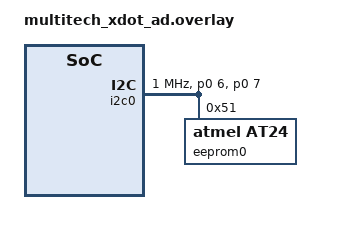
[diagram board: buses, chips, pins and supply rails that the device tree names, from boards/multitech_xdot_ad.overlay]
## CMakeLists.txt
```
# SPDX-License-Identifier: Apache-2.0

cmake_minimum_required(VERSION 3.20.0)

find_package(Zephyr REQUIRED HINTS $ENV{ZEPHYR_BASE})
project(lorawan-shell)

include_directories(include)

FILE(GLOB app_sources src/*.c)
target_sources(app PRIVATE ${app_sources})
```

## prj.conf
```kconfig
CONFIG_LOG=y
CONFIG_SPI=y
CONFIG_GPIO=y
CONFIG_LORA=y
CONFIG_LORAWAN=y

CONFIG_LORAMAC_REGION_AU915=n
CONFIG_LORAMAC_REGION_US915=n
CONFIG_LORAMAC_REGION_EU868=n
CONFIG_LORAMAC_REGION_KR920=n
CONFIG_LORAMAC_REGION_AS923=n
CONFIG_LORAMAC_REGION_IN865=n
CONFIG_MAIN_STACK_SIZE=2048
CONFIG_SYSTEM_WORKQUEUE_STACK_SIZE=2048
# CONFIG_LOG_BUFFER_SIZE=4096


# CONFIG_LOG_DEFAULT_LEVEL=4
CONFIG_LORA_LOG_LEVEL_DBG=n
CONFIG_LORAWAN_LOG_LEVEL_DBG=y


CONFIG_LORAWAN_NVM_NONE=n


CONFIG_LOG=y
# CONFIG_SPI_LOG_LEVEL_DBG=y
# CONFIG_FLASH_LOG_LEVEL_DBG=n
CONFIG_LOG_MODE_IMMEDIATE=y

CONFIG_SHELL=y

# CONFIG_SHELL_MINIMAL=y
CONFIG_SHELL_CMD_BUFF_SIZE=768
CONFIG_SHELL_BACKEND_SERIAL_TX_RING_BUFFER_SIZE=768
CONFIG_SHELL_BACKEND_SERIAL_RX_RING_BUFFER_SIZE=768
```

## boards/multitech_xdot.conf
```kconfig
CONFIG_EEPROM=y
```

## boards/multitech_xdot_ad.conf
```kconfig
CONFIG_LORAWAN_SYSTEM_MAX_RX_ERROR=30
CONFIG_LORAWAN_SYSTEM_MIN_RX_SYMBOLS=10

CONFIG_PM_DEVICE=y

CONFIG_EEPROM=y
```

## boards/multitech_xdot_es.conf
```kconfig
CONFIG_LORAWAN_SYSTEM_MAX_RX_ERROR=30
CONFIG_LORAWAN_SYSTEM_MIN_RX_SYMBOLS=10

CONFIG_FLASH=y
CONFIG_SPI=y
CONFIG_SPI_NOR=y
```

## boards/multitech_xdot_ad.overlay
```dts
/ {
    /* These aliases are provided for compatibility with samples */
	aliases {
		eeprom-0 = &eeprom0;
	};
};


&i2c0 {
	status = "okay";
	pinctrl-0 = <&i2c0_scl_p0_6 &i2c0_sda_p0_7>;
	pinctrl-names = "default";
	clock-frequency = <I2C_BITRATE_FAST_PLUS>;

	eeprom0: eeprom@51 {
		compatible = "atmel,at24";
		reg = <0x51>;
		status = "okay";
		size = <DT_SIZE_K(16)>;
		pagesize = <64>;
		address-width = <16>;
		timeout = <5>;
		zephyr,deferred-init;
	};
	zephyr,deferred-init;
};
```

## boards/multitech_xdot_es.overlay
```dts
/ {
	chosen {
		zephyr,flash-controller = &w25q80dv0;
	};

	/* These aliases are provided for compatibility with samples */
	aliases {
		flash1 = &w25q80dv0;
	};
};

&spi0 {
	status = "okay";
	pinctrl-0 = <&spi0_sck_p0_4 &spi0_miso_p0_2 &spi0_mosi_p0_3>;
	pinctrl-names = "default";
		
	cs-gpios = <&gpio0 5 GPIO_ACTIVE_LOW>;

	w25q80dv0: w25q80dv@0 {
		compatible = "jedec,spi-nor";
		reg = <0>;
		has-dpd;
		t-enter-dpd = <30000>;
		t-exit-dpd = <30000>;

		size = <0x800000>;

		spi-max-frequency = <50000000>;

		jedec-id = [ef 40 14];
		status = "okay";
	};
};
```

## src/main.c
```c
/*
 * Class A LoRaWAN sample application
 *
 * Copyright (c) 2020 Manivannan Sadhasivam <mani@kernel.org>
 *
 * SPDX-License-Identifier: Apache-2.0
 */

#include <zephyr/device.h>
#include <zephyr/lorawan/lorawan.h>
#include <zephyr/kernel.h>
#include <zephyr/sys/reboot.h>
#include <zephyr/drivers/rtc.h>
#include <zephyr/drivers/flash.h>
#include <zephyr/logging/log_ctrl.h>
#include <zephyr/sys/time_units.h>
#include <zephyr/drivers/gpio.h>

#include <zephyr/pm/device.h>
#include <zephyr/pm/device_runtime.h>
#include <zephyr/drivers/eeprom.h>

#include <zephyr/shell/shell.h>
#include <zephyr/sys/util.h>

#include "config.h"
#include "lorawan_app.h"


#define DELAY K_MSEC(1000)

#include <zephyr/logging/log.h>
LOG_MODULE_REGISTER(lorawan_shell_main);



int main(void)
{
	init_config();
	lorawan_init();

	return 0;
}
```

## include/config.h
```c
#ifndef MULTITECH_LORAWAN_CONFIG_H_
#define MULTITECH_LORAWAN_CONFIG_H_

struct perisistent_config {
	uint32_t magic;
	uint8_t deveui[8];
	uint8_t joineui[8];
	uint8_t appkey[16];
	uint16_t devnonce;
};

int init_config();
int save_config();


#endif
```

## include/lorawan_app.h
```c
/*
 * Class A LoRaWAN sample application
 *
 * Copyright (c) 2020 Manivannan Sadhasivam <mani@kernel.org>
 *
 * SPDX-License-Identifier: Apache-2.0
 */

#ifndef MULTITECH_LORAWAN_APP_H_
#define MULTITECH_LORAWAN_APP_H_

#include <zephyr/device.h>
#include <zephyr/lorawan/lorawan.h>
#include <zephyr/kernel.h>
#include <zephyr/sys/reboot.h>
#include <zephyr/drivers/rtc.h>
#include <zephyr/drivers/flash.h>
#include <zephyr/logging/log_ctrl.h>
#include <zephyr/sys/time_units.h>
#include <zephyr/drivers/gpio.h>

#include <zephyr/pm/device.h>
#include <zephyr/pm/device_runtime.h>
#include <zephyr/drivers/eeprom.h>

#include <zephyr/shell/shell.h>
#include <zephyr/sys/util.h>



#define DELAY K_MSEC(1000)


#define AT_APPLICATION_VERSION "0.0.0"
#define LW_VERSION "1.0.4"
#define RP_VERSION "1.0.3"


int lorawan_init(void);
void lorawan_join_network(struct lorawan_join_config *join_cfg);
void lorwan_datarate_changed(enum lorawan_datarate dr);


#endif
```

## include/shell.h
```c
/*
 * Class A LoRaWAN sample application
 *
 * Copyright (c) 2020 Manivannan Sadhasivam <mani@kernel.org>
 *
 * SPDX-License-Identifier: Apache-2.0
 */

#ifndef MULTITECH_LORAWAN_SHELL_H_
#define MULTITECH_LORAWAN_SHELL_H_



#include <zephyr/device.h>
#include <zephyr/lorawan/lorawan.h>
#include <zephyr/kernel.h>
#include <zephyr/sys/reboot.h>
#include <zephyr/drivers/rtc.h>
#include <zephyr/drivers/flash.h>
#include <zephyr/logging/log_ctrl.h>
#include <zephyr/sys/time_units.h>
#include <zephyr/drivers/gpio.h>

#include <zephyr/pm/device.h>
#include <zephyr/pm/device_runtime.h>
#include <zephyr/drivers/eeprom.h>

#include <zephyr/shell/shell.h>
#include <zephyr/sys/util.h>




uint8_t uplinkPort = 2;
uint8_t uplinkPacket[255] = { 0xFF };
uint8_t uplinkSize = 1;
enum lorawan_message_type uplinkType = LORAWAN_MSG_UNCONFIRMED;
bool network_joined = false;



  
static int cmd_deveui(const struct shell *sh, size_t argc, char **argv);
static int cmd_joineui(const struct shell *sh, size_t argc, char **argv);
static int cmd_appkey(const struct shell *sh, size_t argc, char **argv);
static int cmd_save(const struct shell *sh, size_t argc, char **argv);
static int cmd_send(const struct shell *sh, size_t argc, char **argv);
static int cmd_join(const struct shell *sh, size_t argc, char **argv);


#endif
```

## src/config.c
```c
/*
 * Class A LoRaWAN sample application
 *
 * Copyright (c) 2020 Manivannan Sadhasivam <mani@kernel.org>
 *
 * SPDX-License-Identifier: Apache-2.0
 */

#include <zephyr/device.h>
#include <zephyr/lorawan/lorawan.h>
#include <zephyr/kernel.h>
#include <zephyr/sys/reboot.h>
#include <zephyr/drivers/rtc.h>
#include <zephyr/drivers/flash.h>
#include <zephyr/logging/log_ctrl.h>
#include <zephyr/sys/time_units.h>
#include <zephyr/drivers/gpio.h>

#include <zephyr/pm/device.h>
#include <zephyr/pm/device_runtime.h>
#include <zephyr/drivers/eeprom.h>



#include "config.h"
#include "lorawan_app.h"



#include <zephyr/logging/log.h>
LOG_MODULE_REGISTER(lorawan_shell_config);





struct perisistent_config device_config;


#if defined(CONFIG_BOARD_MULTITECH_XDOT_AD)
static const struct device *i2c = DEVICE_DT_GET(DT_NODELABEL(i2c0));
const struct device *const mem_pwr_en = DEVICE_DT_GET(DT_NODELABEL(mem_pwr_en));
#endif


#if defined(CONFIG_BOARD_MULTITECH_XDOT_AD) || defined(CONFIG_BOARD_MULTITECH_XDOT)
static const struct device *nvm_dev = DEVICE_DT_GET(DT_ALIAS(eeprom_0));
#define USE_EEPROM 1
#else
static const struct device *nvm_dev = DEVICE_DT_GET(DT_ALIAS(flash1));
#define USE_EEPROM 0
#endif



#define LORAWAN_NVM_OFFSET 0
#define LORAWAN_NVM_MAGIC  0xEE9704
#define SPI_FLASH_SECTOR_SIZE        0x10000

static int nvm_write(off_t offset, const void *data, size_t len) {
	if (USE_EEPROM)
		return eeprom_write(nvm_dev, offset, data, len);
	else {
		LOG_INF("USE FLASH write");
		flash_erase(nvm_dev, offset, SPI_FLASH_SECTOR_SIZE);
		return flash_write(nvm_dev, offset, data, len);
	}
}

static int nvm_read(off_t offset, void *data, size_t len) {
	if (USE_EEPROM)
		return eeprom_read(nvm_dev, offset, data, len);
	else {
		LOG_INF("USE FLASH read");
		return flash_read(nvm_dev, offset, data, len);
	}
}

int init_config() {
    
#if defined(CONFIG_BOARD_MULTITECH_XDOT_AD)
	pm_device_runtime_get(mem_pwr_en);

	if (pm_device_is_powered(mem_pwr_en)) {
		printk("Internal EEPROM/FLASH is ON\n");
	} else {
		printk("Internal EEPROM/FLASH is OFF\n");
	}

	device_init(i2c);
	device_init(nvm_dev);
#endif

	if (!device_is_ready(nvm_dev)) {
		printk("\nError: Device \"%s\" is not ready; "
		       "check the driver initialization logs for errors.\n",
		       nvm_dev->name);
		return 1;
	}

	int rc = nvm_read(LORAWAN_NVM_OFFSET, &device_config, sizeof(device_config));
	if (rc < 0) {
		printk("Error: Couldn't read eeprom: err: %d.\n", rc);
		return 1;
	}

	if (device_config.magic != LORAWAN_NVM_MAGIC) {
		printk("NO MAGIC\n");
		device_config.magic = LORAWAN_NVM_MAGIC;
		memset(device_config.deveui, 0, 8);
		memset(device_config.joineui, 0, 8);
		memset(device_config.appkey, 0, 16);
		device_config.devnonce = 0;
	}

    return 0;
}

int save_config() {
	return nvm_write(LORAWAN_NVM_OFFSET, &device_config, sizeof(device_config));
}
```

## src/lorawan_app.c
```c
/*
 * Class A LoRaWAN sample application
 *
 * Copyright (c) 2020 Manivannan Sadhasivam <mani@kernel.org>
 *
 * SPDX-License-Identifier: Apache-2.0
 */

#include <zephyr/device.h>
#include <zephyr/lorawan/lorawan.h>
#include <zephyr/kernel.h>
#include <zephyr/sys/reboot.h>
#include <zephyr/drivers/rtc.h>
#include <zephyr/drivers/flash.h>
#include <zephyr/logging/log_ctrl.h>
#include <zephyr/sys/time_units.h>
#include <zephyr/drivers/gpio.h>

#include <zephyr/pm/device.h>
#include <zephyr/pm/device_runtime.h>
#include <zephyr/drivers/eeprom.h>

#include <zephyr/shell/shell.h>
#include <zephyr/sys/util.h>

#include "config.h"
#include "lorawan_app.h"


#define DELAY K_MSEC(1000)

#include <zephyr/logging/log.h>
LOG_MODULE_REGISTER(lorawan_shell_app);



#define AT_APPLICATION_VERSION "0.0.0"
#define LW_VERSION "1.0.4"
#define RP_VERSION "1.0.3"


const struct device *lora_dev;

void lorawan_join_network(struct lorawan_join_config *join_cfg) {
	int ret = -1;

	uint16_t ch_mask[LORAWAN_CHANNELS_MASK_SIZE_US915] = { 0x00ff, 0, 0, 0, 0x0001 };


	LOG_INF("Joining network over OTAA");

	lorawan_set_channels_mask(ch_mask, LORAWAN_CHANNELS_MASK_SIZE_US915);

	ret = lorawan_join(join_cfg);
	
	if (ret != 0) {
		LOG_ERR("lorawan_join_network failed: %d", ret);
		k_sleep(DELAY);
	}
 
}


static void dl_callback(uint8_t port, bool data_pending,
			int16_t rssi, int8_t snr,
			uint8_t len, const uint8_t *hex_data)
{
	LOG_INF("Port %d, Pending %d, RSSI %ddB, SNR %ddBm", port, data_pending, rssi, snr);
	if (hex_data) {
		LOG_HEXDUMP_INF(hex_data, len, "Payload: ");
	}
}

void lorwan_datarate_changed(enum lorawan_datarate dr)
{
	uint8_t unused, max_size;

	lorawan_get_payload_sizes(&unused, &max_size);
	LOG_INF("New Datarate: DR_%d, Max Payload %d", dr, max_size);
}



int lorawan_init(void)
{
	printk("LoRaWAN Shell Demo\n");
    
    int ret = 0;

#if defined(CONFIG_LORAMAC_REGION_EU868)
	/* If more than one region Kconfig is selected, app should set region
	 * before calling lorawan_start()
	 */
	LOG_INF("SET CHPLAN: EU868");
	ret = lorawan_set_region(LORAWAN_REGION_EU868);
	if (ret < 0) {
		LOG_ERR("lorawan_set_region failed: %d", ret);
		return 0;
	}
#elif defined(CONFIG_LORAMAC_REGION_AU915)
	/* If more than one region Kconfig is selected, app should set region
	 * before calling lorawan_start()
	 */
	
	LOG_INF("SET CHPLAN: AU915");
	ret = lorawan_set_region(LORAWAN_REGION_AU915);
	if (ret < 0) {
		LOG_ERR("lorawan_set_region failed: %d", ret);
		return 0;
	}
#elif defined(CONFIG_LORAMAC_REGION_US915)
	/* If more than one region Kconfig is selected, app should set region
	 * before calling lorawan_start()
	 */
	
	LOG_INF("SET CHPLAN: US915");
	ret = lorawan_set_region(LORAWAN_REGION_US915);
	if (ret < 0) {
		LOG_ERR("lorawan_set_region failed: %d", ret);
		return 0;
	}
#endif


	struct lorawan_downlink_cb downlink_cb = {
		.port = LW_RECV_PORT_ANY,
		.cb = dl_callback
	};

	lora_dev = DEVICE_DT_GET(DT_ALIAS(lora0));

	if (!device_is_ready(lora_dev)) {
		LOG_ERR("%s: device not ready.", lora_dev->name);
		return 0;
	}


	ret = lorawan_start();

	if (ret < 0) {
		LOG_ERR("lorawan_start failed: %d", ret);
		return 0;
	}

	lorawan_register_downlink_callback(&downlink_cb);
	lorawan_register_dr_changed_callback(lorwan_datarate_changed);

	lorawan_enable_adr(true);


	return 0;
}

SYS_INIT(lorawan_init, APPLICATION, CONFIG_APPLICATION_INIT_PRIORITY);
```

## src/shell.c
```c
/*
 * Class A LoRaWAN sample application
 *
 * Copyright (c) 2020 Manivannan Sadhasivam <mani@kernel.org>
 *
 * SPDX-License-Identifier: Apache-2.0
 */

#include <zephyr/device.h>
#include <zephyr/lorawan/lorawan.h>
#include <zephyr/kernel.h>
#include <zephyr/sys/reboot.h>
#include <zephyr/drivers/rtc.h>
#include <zephyr/drivers/flash.h>
#include <zephyr/logging/log_ctrl.h>
#include <zephyr/sys/time_units.h>
#include <zephyr/drivers/gpio.h>

#include <zephyr/pm/device.h>
#include <zephyr/pm/device_runtime.h>
#include <zephyr/drivers/eeprom.h>

#include <zephyr/shell/shell.h>
#include <zephyr/sys/util.h>


#include "config.h"
#include "shell.h"
#include "lorawan_app.h"

#define DELAY K_MSEC(1000)

#include <zephyr/logging/log.h>
LOG_MODULE_REGISTER(lorawan_shell);




extern struct perisistent_config device_config;


static void convert_bin2hex(uint8_t* setting, size_t len, char* buffer) {
	for (int i = 0; i < len; i++) {
		sprintf(buffer+(i*2), "%02x", setting[i]);
	}
	buffer[len*2] = '\0';
}

static void convert_hex2bin(uint8_t* setting, size_t len, char* buffer) {
	for (int i = 0; i < len; i++) {
		sscanf(buffer+(i*2), "%2hhx", &setting[i]);
	}
}

  
static int cmd_deveui(const struct shell *sh, size_t argc, char **argv)
{	
	char buffer[17] = {0};
	if (argc == 1) {
		convert_bin2hex(device_config.deveui, 8, buffer);
		shell_print(sh, "deveui: [%s]", buffer);
	} else {
		if (strlen(argv[1]) != 16) {
			shell_print(sh, "Expects 8 bytes");
			return 1;
		}
		convert_hex2bin(device_config.deveui, 8, argv[1]);
	}
	return 0;
}

static int cmd_joineui(const struct shell *sh, size_t argc, char **argv)
{
	char buffer[17] = {0};
	if (argc == 1) {
		convert_bin2hex(device_config.joineui, 8, buffer);
		shell_print(sh, "joineui: [%s]", buffer);
	} else {
		if (strlen(argv[1]) != 16) {
			shell_print(sh, "Expects 8 bytes");
			return 1;
		}
		convert_hex2bin(device_config.joineui, 8, argv[1]);
	}
	return 0;
}

static int cmd_appkey(const struct shell *sh, size_t argc, char **argv)
{
	char buffer[33] = {0};
	if (argc == 1) {
		convert_bin2hex(device_config.appkey, 16, buffer);
		shell_print(sh, "appkey: [%s]", buffer);
	} else {
		if (strlen(argv[1]) != 32) {
			shell_print(sh, "Expects 16 bytes");
			return 1;
		}
		convert_hex2bin(device_config.appkey, 16, argv[1]);
	}

	return 0;
}

static int cmd_save(const struct shell *sh, size_t argc, char **argv)
{
	int rc = save_config();
	if (rc == 0) {
		shell_print(sh, "OK");
	} else {
		shell_print(sh, "Failed to save %d", rc);
	}
	return 0;
}

static int cmd_send(const struct shell *sh, size_t argc, char **argv)
{
	sscanf(argv[1], "%hhd", &uplinkPort);
	sscanf(argv[2], "%hhd", (uint8_t*)&uplinkType);

	if (uplinkType > 1) {
		shell_print(sh, "Invalid uplink type %d, expects (0:UNC,1:CNF)", uplinkType);
		return 2;
	}

	uplinkSize = strlen(argv[3])/2;
	convert_hex2bin(uplinkPacket, uplinkSize, argv[3]);
	int ret = lorawan_send(uplinkPort, uplinkPacket, uplinkSize, uplinkType);

	if (ret < 0) {
		shell_print(sh, "Send failed %d", ret);
		return 1;
	}

	return 0;
}

static int cmd_join(const struct shell *sh, size_t argc, char **argv)
{
    struct lorawan_join_config join_cfg;

	join_cfg.mode = LORAWAN_ACT_OTAA;
	join_cfg.dev_eui = device_config.deveui;
	join_cfg.otaa.join_eui = device_config.joineui;
	join_cfg.otaa.app_key = device_config.appkey;
	join_cfg.otaa.nwk_key = device_config.appkey;

    device_config.devnonce++;
	// need to save/restore nonce device_config
	join_cfg.otaa.dev_nonce = device_config.devnonce; 
	// join_cfg.otaa.join_nonce = 0u;

	lorawan_join_network(&join_cfg);
    
    save_config();
	return 0;
}

SHELL_STATIC_SUBCMD_SET_CREATE(sub_lorawan,
	SHELL_CMD_ARG(deveui, NULL, "Set/get [deveui:HEX8]", cmd_deveui, 1, 1),
	SHELL_CMD_ARG(joineui, NULL, "Set/get [joineui:HEX8]", cmd_joineui, 1, 1),
	SHELL_CMD_ARG(appkey, NULL, "Set/get [appkey:HEX16]", cmd_appkey, 1, 1),
	SHELL_CMD(save, NULL, "Save Config", cmd_save),
	SHELL_CMD(join, NULL, "Join Network", cmd_join),
	SHELL_CMD_ARG(send, NULL, "<port> <0:UNC,1:CNF> <payload:HEX>", cmd_send, 4, 0)
);

SHELL_CMD_REGISTER(lw, &sub_lorawan, "LoRaWAN Commands", NULL);
```
